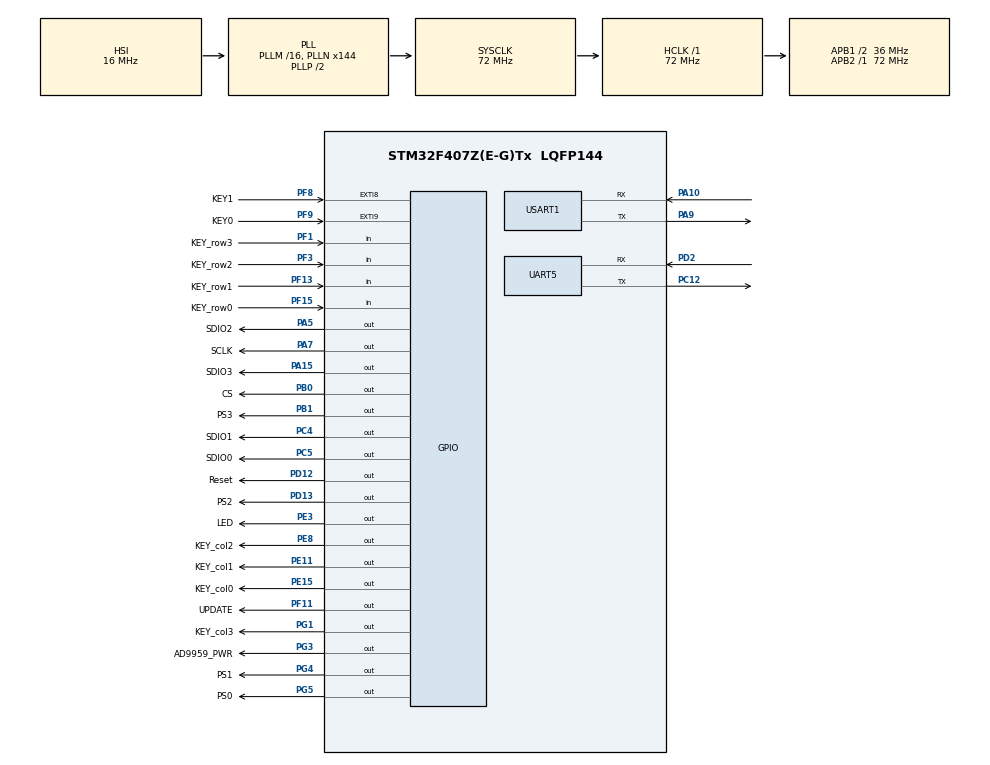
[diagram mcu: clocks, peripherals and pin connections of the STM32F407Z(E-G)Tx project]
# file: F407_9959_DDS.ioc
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Mcu.Family=STM32F4
Mcu.Name=STM32F407Z(E-G)Tx
Mcu.Package=LQFP144
NVIC.EXTI9_5_IRQn=true\:0\:0\:false\:false\:true\:true\:true\:true
NVIC.PriorityGroup=NVIC_PRIORITYGROUP_4
NVIC.TIM2_IRQn=true\:0\:0\:false\:false\:true\:true\:true\:true
PA10.Mode=Asynchronous
PA10.Signal=USART1_RX
PA15.GPIO_Label=SDIO3
PA15.Signal=GPIO_Output
PA5.GPIO_Label=SDIO2
PA5.Signal=GPIO_Output
PA7.GPIO_Label=SCLK
PA7.Signal=GPIO_Output
PA9.Mode=Asynchronous
PA9.Signal=USART1_TX
PB0.GPIO_Label=CS
PB0.Signal=GPIO_Output
PB1.GPIO_Label=PS3
PB1.Signal=GPIO_Output
PC12.Mode=Asynchronous
PC12.Signal=UART5_TX
PC4.GPIO_Label=SDIO1
PC4.Signal=GPIO_Output
PC5.GPIO_Label=SDIO0
PC5.Signal=GPIO_Output
PD12.GPIO_Label=Reset
PD12.Signal=GPIO_Output
PD13.GPIO_Label=PS2
PD13.Signal=GPIO_Output
PD2.Mode=Asynchronous
PD2.Signal=UART5_RX
PE11.GPIO_Label=KEY_col1
PE11.PinState=GPIO_PIN_SET
PE11.Signal=GPIO_Output
PE15.GPIO_Label=KEY_col0
PE15.PinState=GPIO_PIN_SET
PE15.Signal=GPIO_Output
PE3.GPIO_Label=LED
PE3.Signal=GPIO_Output
PE8.GPIO_Label=KEY_col2
PE8.PinState=GPIO_PIN_SET
PE8.Signal=GPIO_Output
PF1.GPIO_Label=KEY_row3
PF1.GPIO_PuPd=GPIO_PULLUP
PF1.Signal=GPIO_Input
PF11.GPIO_Label=UPDATE
PF11.Signal=GPIO_Output
PF13.GPIO_Label=KEY_row1
PF13.GPIO_PuPd=GPIO_PULLUP
PF13.Signal=GPIO_Input
PF15.GPIO_Label=KEY_row0
PF15.GPIO_PuPd=GPIO_PULLUP
PF15.Signal=GPIO_Input
PF3.GPIO_Label=KEY_row2
PF3.GPIO_PuPd=GPIO_PULLUP
PF3.Signal=GPIO_Input
PF8.GPIO_Label=KEY1
PF8.GPIO_ModeDefaultEXTI=GPIO_MODE_IT_RISING_FALLING
PF8.GPIO_PuPd=GPIO_NOPULL
PF8.Signal=GPXTI8
PF9.GPIO_Label=KEY0
PF9.GPIO_ModeDefaultEXTI=GPIO_MODE_IT_RISING_FALLING
PF9.GPIO_PuPd=GPIO_NOPULL
PF9.Signal=GPXTI9
PG1.GPIO_Label=KEY_col3
PG1.PinState=GPIO_PIN_SET
PG1.Signal=GPIO_Output
PG3.GPIO_Label=AD9959_PWR
PG3.Signal=GPIO_Output
PG4.GPIO_Label=PS1
PG4.Signal=GPIO_Output
PG5.GPIO_Label=PS0
PG5.Signal=GPIO_Output
ProjectManager.HeapSize=0x200
ProjectManager.StackSize=0x400
ProjectManager.TargetToolchain=MDK-ARM V5
RCC.48MHZClocksFreq_Value=36000000
RCC.AHBFreq_Value=72000000
RCC.APB1CLKDivider=RCC_HCLK_DIV2
RCC.APB1Freq_Value=36000000
RCC.APB1TimFreq_Value=72000000
RCC.APB2Freq_Value=72000000
RCC.APB2TimFreq_Value=72000000
RCC.CortexFreq_Value=72000000
RCC.HCLKFreq_Value=72000000
RCC.HSE_VALUE=25000000
RCC.HSI_VALUE=16000000
RCC.LSE_VALUE=32768
RCC.PLLN=144
RCC.SYSCLKFreq_VALUE=72000000
RCC.SYSCLKSource=RCC_SYSCLKSOURCE_PLLCLK
RCC.VCOOutputFreq_Value=144000000
TIM2.AutoReloadPreload=TIM_AUTORELOAD_PRELOAD_ENABLE
TIM2.Period=1000
TIM2.Prescaler=71
UART5.VirtualMode=Asynchronous
USART1.VirtualMode=VM_ASYNC
VP_TIM2_VS_ClockSourceINT.Mode=Internal
board=custom

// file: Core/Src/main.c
/* USER CODE BEGIN Header */
/**
 ******************************************************************************
 * @file           : main.c
 * @brief          : Main program body
 ******************************************************************************
 * @attention
 *
 * Copyright (c) 2022 STMicroelectronics.
 * All rights reserved.
 *
 * This software is licensed under terms that can be found in the LICENSE file
 * in the root directory of this software component.
 * If no LICENSE file comes with this software, it is provided AS-IS.
 *
 ******************************************************************************
 */
/* USER CODE END Header */
#include "main.h"
#include "tim.h"
#include "usart.h"
#include "gpio.h"

/* USER CODE BEGIN Includes */
#include "stdio.h"
#include "AD9959.h"
#include "key.h"
// int fputc(int ch, FILE *f)
//{
//     uint8_t temp[1] = {ch};
//     HAL_UART_Transmit(&huart5, temp, 1, 2); //huart1 ???????????
//     return ch;
// }
#ifdef __GNUC__
#define PUTCHAR_PROTOTYPE int __io_putchar(int ch)
#else
#define PUTCHAR_PROTOTYPE int fputc(int ch, FILE *f)
#endif
PUTCHAR_PROTOTYPE
{
  HAL_UART_Transmit(&huart5, (uint8_t *)&ch, 1, 0xFFFF);
  return ch;
}

/* USER CODE END Includes */

/* USER CODE BEGIN PTD */
uint32_t count1 = 0;
uint32_t DotFreChange;
/* USER CODE END PTD */

void SystemClock_Config(void);
/* USER CODE BEGIN PFP */
void key_function(void);
/* USER CODE END PFP */

/* USER CODE BEGIN 0 */
uint8_t mode = 1; // mode = 1 ???? mode = ?????

/* USER CODE END 0 */

int main(void)
{
  /* USER CODE BEGIN 1 */

  uint8_t CFR2_DATA[2] = {0x20, 0x00};
  uint32_t SinFre[5] = {1000, 1000, 1000, 1000};
  uint32_t SinPhr[5] = {0, 0, 0, 0};
  uint32_t SinAmp[5] = {1023 * 2, 1023, 1023, 1023};
  /* USER CODE END 1 */

  /* MCU Configuration--------------------------------------------------------*/

  /* Reset of all peripherals, Initializes the Flash interface and the Systick. */
  HAL_Init();

  /* Configure the system clock */
  SystemClock_Config();

  /* Initialize all configured peripherals */
  MX_GPIO_Init();
  MX_UART5_Init();
  MX_USART1_UART_Init();
  MX_TIM2_Init();
  /* USER CODE BEGIN 2 */
  HAL_TIM_Base_Start_IT(&htim2);
  Init_AD9959();
  WriteData_AD9959(FR2_ADD, 2, CFR2_DATA, 1);

  //��????????
  Write_frequence(3, SinFre[3]);
  Write_frequence(0, SinFre[0]);
  Write_frequence(1, SinFre[1]);
  Write_frequence(2, SinFre[2]);

  /*---------------------------------------
  ???????????????????????
  Channel:  ???????
  Phase:    ???????,??��??0~16383(???????0??~360??)
  ---------------------------------------*/
  Write_Phase(3, SinPhr[3]);
  Write_Phase(0, SinPhr[0]);
  Write_Phase(1, SinPhr[1]);
  Write_Phase(2, SinPhr[2]);

  /*
  ????????????????????????
Channel:  ???????
Ampli:    ????????,??��0~1023???????0~1023???????????0~530mV????
*/
  Write_Amplitude(0, SinAmp[0]);
  Write_Amplitude(1, SinAmp[0]);

  Write_Amplitude(2, SinAmp[0]);
  Write_Amplitude(3, SinAmp[0]);
  /* USER CODE END 2 */

  /* Infinite loop */
  while (1)
  {
printf("step_add");
    /* USER CODE BEGIN 3 */

    key_function();
  }
  /* USER CODE END 3 */
}

void SystemClock_Config(void)
{
  RCC_OscInitTypeDef RCC_OscInitStruct = {0};
  RCC_ClkInitTypeDef RCC_ClkInitStruct = {0};

  /** Configure the main internal regulator output voltage
   */
  __HAL_RCC_PWR_CLK_ENABLE();
  __HAL_PWR_VOLTAGESCALING_CONFIG(PWR_REGULATOR_VOLTAGE_SCALE1);

  /** Initializes the RCC Oscillators according to the specified parameters
   * in the RCC_OscInitTypeDef structure.
   */
  RCC_OscInitStruct.OscillatorType = RCC_OSCILLATORTYPE_HSI;
  RCC_OscInitStruct.HSIState = RCC_HSI_ON;
  RCC_OscInitStruct.HSICalibrationValue = RCC_HSICALIBRATION_DEFAULT;
  RCC_OscInitStruct.PLL.PLLState = RCC_PLL_ON;
  RCC_OscInitStruct.PLL.PLLSource = RCC_PLLSOURCE_HSI;
  RCC_OscInitStruct.PLL.PLLM = 16;
  RCC_OscInitStruct.PLL.PLLN = 144;
  RCC_OscInitStruct.PLL.PLLP = RCC_PLLP_DIV2;
  RCC_OscInitStruct.PLL.PLLQ = 4;
  if (HAL_RCC_OscConfig(&RCC_OscInitStruct) != HAL_OK)
  {
    Error_Handler();
  }

  /** Initializes the CPU, AHB and APB buses clocks
   */
  RCC_ClkInitStruct.ClockType = RCC_CLOCKTYPE_HCLK | RCC_CLOCKTYPE_SYSCLK | RCC_CLOCKTYPE_PCLK1 | RCC_CLOCKTYPE_PCLK2;
  RCC_ClkInitStruct.SYSCLKSource = RCC_SYSCLKSOURCE_PLLCLK;
  RCC_ClkInitStruct.AHBCLKDivider = RCC_SYSCLK_DIV1;
  RCC_ClkInitStruct.APB1CLKDivider = RCC_HCLK_DIV2;
  RCC_ClkInitStruct.APB2CLKDivider = RCC_HCLK_DIV1;

  if (HAL_RCC_ClockConfig(&RCC_ClkInitStruct, FLASH_LATENCY_2) != HAL_OK)
  {
    Error_Handler();
  }
}

/* USER CODE BEGIN 4 */
void HAL_GPIO_EXTI_Callback(uint16_t GPIO_Pin)
{
  HAL_GPIO_TogglePin(LED_GPIO_Port, LED_Pin);
  extern uint32_t count1;
  extern uint16_t stepFreChange;
  HAL_Delay(100);
  printf("step_add");
  if (GPIO_Pin == KEY0_Pin)
  {
    printf("step_add");
    stepFreChange = stepFreChange + 100;
  }
  if (GPIO_Pin == KEY1_Pin)
  {
    printf("step_reduce");
    if (stepFreChange > 0)
      stepFreChange = stepFreChange - 100;
    if (GPIO_Pin == KEY1_Pin)
    {
      mode++;
      mode = mode % 2;
    }
  }
}
void key_function(void)
{
  extern uint32_t NowFre;
  extern uint32_t count1;
  extern uint16_t stepFreChange;

  char key_confirm;
  key_confirm = KEY_SCAN();
  if (0 < key_confirm && key_confirm < 17)
  {   //????
    if (key_confirm == 2)
    {
      printf("Sweepstep_++\r\n");
      stepFreChange = stepFreChange + 100;
    }
    if (key_confirm == 3)
    {
      printf("Sweepstep_--\r\n");
      stepFreChange = stepFreChange - 100;
    }
    if (key_confirm == 1)    // ???��?
    {
      NowFre = 1000;
      mode++;
      mode = mode % 2;
      if (mode % 2 == 0)
      {
        HAL_TIM_Base_Stop_IT(&htim2);
        HAL_TIM_Base_Start_IT(&htim2);
        stepFreChange = 1000;
        printf("mode = DotFre\r\n");
        Write_frequence(0, NowFre);
      }
      if (mode % 2 == 1)
      {
        HAL_TIM_Base_Stop_IT(&htim2);
        printf("mode = SweepFre\r\n");
        Write_frequence(0, NowFre);
      }
    }
    if (key_confirm == 6)
    {
      if (mode % 2 == 0)
      {
        DotFreChange = 1;
        printf("Dotstep_++\r\n");
      }
    }
    if (key_confirm == 7)
    {
      if (mode % 2 == 0)
      {

        DotFreChange = 2;
        printf("Dotstep_--\r\n");
      }
    }
  }
  /*?????*/
  if (mode % 2 == 0)
  {
    if (DotFreChange == 1)
    {
      DotFreChange = 0;
      NowFre = NowFre + 100000;
      Write_frequence(0, NowFre);
      // printf("NowFre=%d\r\n",NowFre);
    }
    if (DotFreChange == 2)
    {
      DotFreChange = 0;
      NowFre = NowFre - 1000;
      printf("NowFre=%d\r\n", NowFre);
      Write_frequence(0, NowFre);
    }
    printf("NowFre=%d\r\n", NowFre);
  }
}

/* USER CODE END 4 */

void Error_Handler(void)
{
  __disable_irq();
  while (1)
  {
  }
}
